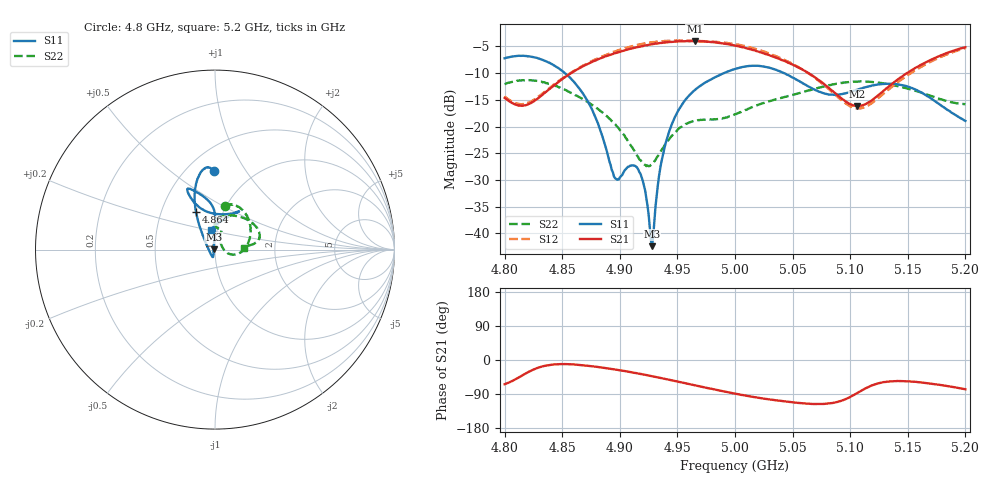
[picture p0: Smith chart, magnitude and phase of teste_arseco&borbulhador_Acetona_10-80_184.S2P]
! Network Analyzer HP8722D
! Hewlett-Packard
! Data name: Linha & Wilkinson
! Saver's name: Rodrigo Anjos
! Comments: Teste da utilização de aquisição
! continua pelo VNA HP8722D
! Time and date: 25/4/2025 16:48
!  Frequency  S11  S21  S12  S22
# HZ  S  MA R 50
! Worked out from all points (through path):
!   401 points, 4.8 GHz to 5.2 GHz, reference 50 ohm
!   highest |S21| = -3.99 dB at 4.965 GHz (marker M1); lowest = -16.2 dB at 5.106 GHz (marker M2)
!   lowest |S11| = -42.4 dB at 4.928 GHz (marker M3), VSWR 1.02, Z = 49.2 + j0.0744 ohm
!   |S11| at or under -10 dB: 4.852 GHz to 4.99 GHz (137.8 MHz wide, 2.8 % of centre); 5.043 GHz to end of sweep
!   |S22| runs from -27.4 to -11.3 dB; largest |S21 - S12| = 1.2
!   S11 on the Smith chart (normalised r, x): 4.8 GHz: 0.67, +0.72; 4.864 GHz: 0.75, +0.33; 5.2 GHz: 0.94, +0.21
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4.8e9  0.4354 91.0  0.1857 -63.8  0.1912 69.6  0.249 77.2
4.82e9  0.4543 97.2  0.1606 -32.6  0.1664 98.2  0.2716 61.8
4.844e9  0.3682 107.1  0.2486 -11.5  0.252 119.1  0.2402 36.0
4.864e9  0.2339 117.0  0.3474 -12.7  0.3512 121.1  0.1906 12.4
4.867e9  0.2115 118.5  0.3621 -13.7  0.3662 120.8  0.1829 9.0
4.88e9  0.114 128.5  0.4208 -18.2  0.4316 118.3  0.1488 -4.8
4.896e9  0.03278 -169.5  0.4861 -25.2  0.5051 113.2  0.1052 -15.5
4.91e9  0.04319 -107.2  0.5372 -32.4  0.562 107.3  0.06547 -13.2
4.917e9  0.03747 -104.7  0.5592 -36.3  0.5873 103.8  0.04918 -1.0
4.922e9  0.02519 -108.1  0.5741 -39.1  0.6012 100.9  0.04386 15.7
4.928e9  0.007595 174.3  0.5896 -42.8  0.6155 97.3  0.04453 40.3
4.934e9  0.03414 99.7  0.6032 -46.6  0.6272 93.4  0.05464 57.3
4.939e9  0.06459 93.8  0.6122 -49.7  0.6331 90.2  0.06719 64.9
4.946e9  0.1105 90.2  0.622 -54.2  0.6378 85.8  0.08374 69.3
4.965e9  0.2192 91.2  0.6314 -66.7  0.6358 73.6  0.1136 71.2
5e9  0.3463 109.3  0.5738 -88.8  0.5914 51.0  0.1304 88.4
5.03e9  0.3554 115.3  0.4648 -104.0  0.4812 33.9  0.1729 85.6
5.067e9  0.2276 105.6  0.3012 -115.8  0.2992 23.6  0.2221 57.3
5.106e9  0.2208 65.2  0.1556 -87.2  0.1475 55.7  0.2636 25.0
5.134e9  0.2517 57.9  0.2397 -56.6  0.2253 88.7  0.2486 12.4
5.168e9  0.1902 69.9  0.4119 -61.6  0.3953 85.4  0.1966 7.1
5.2e9  0.1131 100.9  0.553 -77.2  0.5434 70.4  0.1621 3.8
